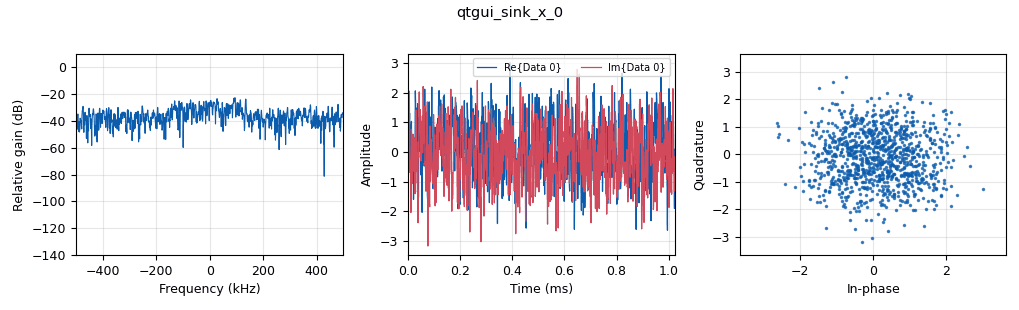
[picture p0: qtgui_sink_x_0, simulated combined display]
options:
  parameters:
    generate_options: qt_gui
    id: test2
    output_language: python
    title: Not titled yet
  states: {}

blocks:
- name: q
  id: variable_constellation_rect
  parameters:
    const_points: '[-1-1j, -1+1j, 1+1j, 1-1j]'
    imag_sect: '2'
    real_sect: '2'
    rot_sym: '4'
    sym_map: '[0, 1, 3, 2]'
    w_imag_sect: '1'
    w_real_sect: '1'
  states: {}
- name: sr
  id: variable
  parameters:
    value: 1e6
  states: {}
- name: sr_ch
  id: variable
  parameters:
    value: 100e3
  states: {}
- name: analog_noise_source_x_0
  id: analog_noise_source_x
  parameters:
    amp: '1'
    noise_type: analog.GR_GAUSSIAN
    seed: '0'
    type: complex
  states: {}
- name: analog_random_source_x_0
  id: analog_random_source_x
  parameters:
    max: '255'
    min: '0'
    num_samps: '1000'
    repeat: 'True'
    type: byte
  states: {}
- name: blocks_add_xx_0
  id: blocks_add_xx
  parameters:
    type: complex
  states: {}
- name: blocks_complex_to_float_0
  id: blocks_complex_to_float
  parameters: {}
  states: {}
- name: blocks_complex_to_float_0_0
  id: blocks_complex_to_float
  parameters: {}
  states: {}
- name: blocks_complex_to_float_0_1
  id: blocks_complex_to_float
  parameters: {}
  states: {}
- name: blocks_throttle_0
  id: blocks_throttle
  parameters:
    samples_per_second: sr
    type: complex
  states: {}
- name: blocks_wavfile_sink_0
  id: blocks_wavfile_sink
  parameters:
    bits_per_sample: '8'
    file: /home/fabian/spectrum-sensing-salsat/code/samples/gnu_psk_noise.wav
    nchan: '2'
    samp_rate: int(sr)
  states: {}
- name: blocks_wavfile_sink_0_0
  id: blocks_wavfile_sink
  parameters:
    bits_per_sample: '8'
    file: /home/fabian/spectrum-sensing-salsat/code/samples/gnu_psk_both.wav
    nchan: '2'
    samp_rate: int(sr)
  states: {}
- name: blocks_wavfile_sink_0_1
  id: blocks_wavfile_sink
  parameters:
    bits_per_sample: '8'
    file: /home/fabian/spectrum-sensing-salsat/code/samples/gnu_psk_signal.wav
    nchan: '2'
    samp_rate: int(sr)
  states: {}
- name: digital_constellation_modulator_0
  id: digital_constellation_modulator
  parameters:
    constellation: q
    differential: 'True'
    excess_bw: '0.3'
    samples_per_symbol: '4'
  states: {}
- name: freq_xlating_fir_filter_xxx_0_0
  id: freq_xlating_fir_filter_xxx
  parameters:
    center_freq: '0'
    decim: '1'
    samp_rate: sr
    taps: firdes.low_pass(1,sr,sr/(2), 1000)
    type: ccc
  states: {state: disabled}
- name: interp_fir_filter_xxx_0
  id: interp_fir_filter_xxx
  parameters:
    interp: int(sr/sr_ch)
    taps: firdes.low_pass(1,sr_ch,sr_ch/(2), 1000)
    type: ccc
  states: {state: disabled}
- name: low_pass_filter_0
  id: low_pass_filter
  parameters:
    cutoff_freq: int(sr_ch/2)
    decim: '1'
    gain: '1'
    samp_rate: sr
    type: fir_filter_ccf
    width: int((sr_ch/2)*0.01)
    win: firdes.WIN_HAMMING
  states: {state: disabled}
- name: qtgui_sink_x_0
  id: qtgui_sink_x
  parameters:
    bw: sr
    fc: '0'
    fftsize: '1024'
    type: complex
    wintype: firdes.WIN_BLACKMAN_hARRIS
  states: {}

connections:
- [analog_noise_source_x_0, '0', blocks_add_xx_0, '1']
- [analog_noise_source_x_0, '0', blocks_complex_to_float_0, '0']
- [analog_random_source_x_0, '0', digital_constellation_modulator_0, '0']
- [blocks_add_xx_0, '0', blocks_complex_to_float_0_0, '0']
- [blocks_add_xx_0, '0', blocks_throttle_0, '0']
- [blocks_complex_to_float_0, '0', blocks_wavfile_sink_0, '0']
- [blocks_complex_to_float_0, '1', blocks_wavfile_sink_0, '1']
- [blocks_complex_to_float_0_0, '0', blocks_wavfile_sink_0_0, '0']
- [blocks_complex_to_float_0_0, '1', blocks_wavfile_sink_0_0, '1']
- [blocks_complex_to_float_0_1, '0', blocks_wavfile_sink_0_1, '0']
- [blocks_complex_to_float_0_1, '1', blocks_wavfile_sink_0_1, '1']
- [blocks_throttle_0, '0', qtgui_sink_x_0, '0']
- [digital_constellation_modulator_0, '0', blocks_add_xx_0, '0']
- [digital_constellation_modulator_0, '0', blocks_complex_to_float_0_1, '0']
- [digital_constellation_modulator_0, '0', interp_fir_filter_xxx_0, '0']
- [freq_xlating_fir_filter_xxx_0_0, '0', blocks_add_xx_0, '0']
- [freq_xlating_fir_filter_xxx_0_0, '0', blocks_complex_to_float_0_1, '0']
- [interp_fir_filter_xxx_0, '0', low_pass_filter_0, '0']
- [low_pass_filter_0, '0', freq_xlating_fir_filter_xxx_0_0, '0']

metadata:
  file_format: 1
